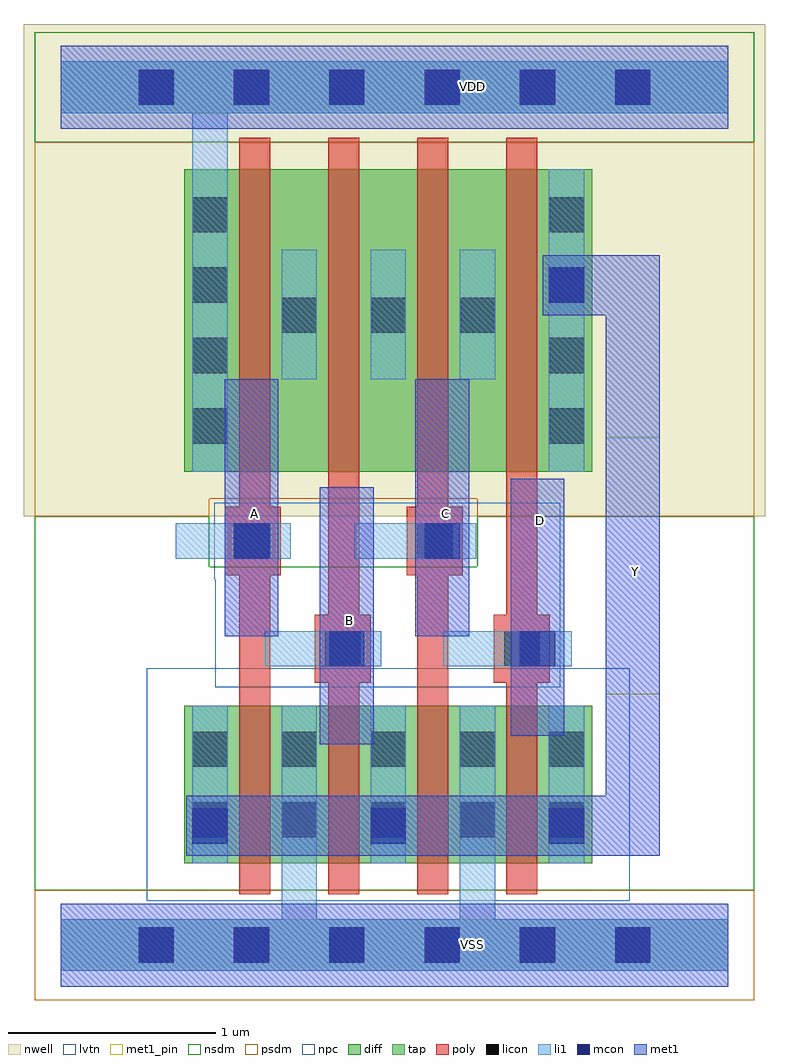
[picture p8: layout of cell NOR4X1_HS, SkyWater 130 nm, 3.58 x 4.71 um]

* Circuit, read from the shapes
.subckt NOR4X1_HS A B C D VDD VSS Y
XM1 VSS A Y VSS sky130_fd_pr__nfet_01v8_lvt w=0.76 l=0.15
XM2 Y B VSS VSS sky130_fd_pr__nfet_01v8_lvt w=0.76 l=0.15
XM3 VSS C Y VSS sky130_fd_pr__nfet_01v8_lvt w=0.76 l=0.15
XM4 Y D VSS VSS sky130_fd_pr__nfet_01v8_lvt w=0.76 l=0.15
XM5 n1 A VDD VDD sky130_fd_pr__pfet_01v8 w=1.46 l=0.15
XM6 n2 B n1 VDD sky130_fd_pr__pfet_01v8 w=1.46 l=0.15
XM7 n3 C n2 VDD sky130_fd_pr__pfet_01v8 w=1.46 l=0.15
XM8 Y D n3 VDD sky130_fd_pr__pfet_01v8 w=1.46 l=0.15
.ends

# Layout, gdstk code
from math import pi, radians
import gdstk
lib = gdstk.Library(unit=1e-6, precision=1e-09)
def R(c, l, rs):  # rectangles x0, y0, x1, y1
    for r in rs: c.add(gdstk.rectangle(r[:2], r[2:], *l))
def A(c, l, x, y, w, h, nx, ny, dx, dy):  # array of equal rectangles
    R(c, l, [(x+i*dx, y+j*dy, x+i*dx+w, y+j*dy+h) for i in range(nx) for j in range(ny)])
def P(c, l, *ps):  # polygons
    for p in ps: c.add(gdstk.Polygon(p, *l))
nwell = (64, 20)
diff = (65, 20)
tap = (65, 44)
poly = (66, 20)
licon = (66, 44)
li1 = (67, 20)
mcon = (67, 44)
met1_pin = (68, 16)
met1 = (68, 20)
nsdm = (93, 44)
psdm = (94, 20)
npc = (95, 20)
lvtn = (125, 44)

licondiff_c_cdns_7520165 = lib.new_cell('LICONDIFF_C_CDNS_752016586819')
R(licondiff_c_cdns_7520165, diff, [(-0.125,-0.145,0.125,0.145)])
R(licondiff_c_cdns_7520165, licon, [(-0.085,-0.085,0.085,0.085), (-0.085,-0.085,0.085,0.085)])

l1m1_c_cdns_752016586811 = lib.new_cell('L1M1_C_CDNS_752016586811')
R(l1m1_c_cdns_752016586811, li1, [(-0.165,-0.085,0.165,0.085)])
R(l1m1_c_cdns_752016586811, mcon, [(-0.085,-0.085,0.085,0.085)])
R(l1m1_c_cdns_752016586811, met1, [(-0.115,-0.145,0.115,0.145)])

l1m1_c_cdns_752016586812 = lib.new_cell('L1M1_C_CDNS_752016586812')
R(l1m1_c_cdns_752016586812, li1, [(-0.085,-0.165,0.085,0.165)])
R(l1m1_c_cdns_752016586812, mcon, [(-0.085,-0.085,0.085,0.085)])
R(l1m1_c_cdns_752016586812, met1, [(-0.115,-0.145,0.115,0.145)])

pyl1con_c_cdns_752016586 = lib.new_cell('PYL1CON_C_CDNS_752016586813')
R(pyl1con_c_cdns_752016586, poly, [(-0.135,-0.165,0.135,0.165)])
R(pyl1con_c_cdns_752016586, licon, [(-0.085,-0.085,0.085,0.085)])
R(pyl1con_c_cdns_752016586, npc, [(-0.185,-0.185,0.185,0.185)])

nor4x1_hs = lib.new_cell('NOR4X1_HS')
R(nor4x1_hs, nwell, [(-0.18,2.07,3.4,4.445)])
R(nor4x1_hs, diff, [(0.595,0.395,2.565,1.155), (0.595,2.285,2.565,3.745)])
A(nor4x1_hs, poly, 0.86, 0.245, 0.15, 3.65, 4, 1, 0.43, 0)
A(nor4x1_hs, licon, 0.375, -0.085, 0.17, 0.17, 6, 2, 0.46, 4.14)
A(nor4x1_hs, licon, 0.635, 0.52, 0.17, 0.17, 5, 2, 0.43, 0.34)
A(nor4x1_hs, licon, 0.635, 2.42, 0.17, 0.17, 1, 4, 0, 0.34)
A(nor4x1_hs, licon, 2.355, 2.42, 0.17, 0.17, 1, 4, 0, 0.34)
A(nor4x1_hs, li1, 0.635, 0.395, 0.17, 0.76, 3, 1, 0.86, 0)
R(nor4x1_hs, li1, [(2.355,2.285,2.525,3.745)])
P(nor4x1_hs, li1, [(3.22,4.265),(0,4.265),(0,4.015),(0.635,4.015),(0.635,2.285),(0.805,2.285),(0.805,4.015),(3.22,4.015)],
  [(3.22,0.125),(2.095,0.125),(2.095,1.155),(1.925,1.155),(1.925,0.125),(1.235,0.125),(1.235,1.155),(1.065,1.155),(1.065,0.125),(0,0.125),(0,-0.125),(3.22,-0.125)])
A(nor4x1_hs, mcon, 0.375, -0.085, 0.17, 0.17, 6, 2, 0.46, 4.14)
R(nor4x1_hs, met1_pin, [(1.25,0.97,1.51,2.21), (2.17,1.01,2.43,2.25), (2.63,1.21,2.89,2.45), (0.79,1.49,1.05,2.73), (1.71,1.49,1.97,2.73)])
P(nor4x1_hs, met1, [(2.89,3.33),(2.325,3.33),(2.325,3.04),(2.63,3.04),(2.63,0.72),(0.72,0.72),(0.72,0.43),(2.89,0.43)])
R(nor4x1_hs, nsdm, [(-0.125,3.875,3.345,4.405)])
P(nor4x1_hs, nsdm, [(3.345,2.07),(2.01,2.07),(2.01,1.825),(0.715,1.825),(0.715,2.07),(-0.125,2.07),(-0.125,0.265),(3.345,0.265)])
R(nor4x1_hs, psdm, [(-0.125,-0.265,3.345,0.265)])
P(nor4x1_hs, psdm, [(3.345,3.875),(-0.125,3.875),(-0.125,2.07),(0.715,2.07),(0.715,2.155),(2.01,2.155),(2.01,2.07),(3.345,2.07)])
R(nor4x1_hs, npc, [(0.745,1.245,2.41,2.135)])
R(nor4x1_hs, lvtn, [(0.415,0.215,2.745,1.335)])
nor4x1_hs.add(gdstk.FlexPath([(1.845,1.43),(2.405,1.43)], 0.17, ends="flush", simple_path=True, layer=67, datatype=20))  # li1
nor4x1_hs.add(gdstk.FlexPath([(2.01,2.73),(2.01,3.355)], 0.17, ends="flush", simple_path=True, layer=67, datatype=20))  # li1
nor4x1_hs.add(gdstk.FlexPath([(0.555,1.95),(1.11,1.95)], 0.17, ends="flush", simple_path=True, layer=67, datatype=20))  # li1
nor4x1_hs.add(gdstk.FlexPath([(1.415,1.95),(1.97,1.95)], 0.17, ends="flush", simple_path=True, layer=67, datatype=20))  # li1
nor4x1_hs.add(gdstk.FlexPath([(0.985,1.43),(1.54,1.43)], 0.17, ends="flush", simple_path=True, layer=67, datatype=20))  # li1
nor4x1_hs.add(gdstk.FlexPath([(1.58,2.73),(1.58,3.355)], 0.17, ends="flush", simple_path=True, layer=67, datatype=20))  # li1
nor4x1_hs.add(gdstk.FlexPath([(1.15,2.73),(1.15,3.355)], 0.17, ends="flush", simple_path=True, layer=67, datatype=20))  # li1
nor4x1_hs.add(gdstk.FlexPath([(0,4.14),(3.22,4.14)], 0.25, ends="flush", simple_path=True, layer=65, datatype=44))  # tap
nor4x1_hs.add(gdstk.FlexPath([(0,0),(3.22,0)], 0.25, ends="flush", simple_path=True, layer=65, datatype=44))  # tap
nor4x1_hs.add(gdstk.FlexPath([(0,4.14),(3.22,4.14)], 0.4, ends="flush", simple_path=True, layer=68, datatype=20))  # met1
nor4x1_hs.add(gdstk.FlexPath([(0,0),(3.22,0)], 0.4, ends="flush", simple_path=True, layer=68, datatype=20))  # met1
nor4x1_hs.add(gdstk.FlexPath([(1.84,1.49),(1.84,2.73)], 0.26, ends="flush", simple_path=True, layer=68, datatype=20))  # met1
nor4x1_hs.add(gdstk.FlexPath([(2.3,1.01),(2.3,2.25)], 0.26, ends="flush", simple_path=True, layer=68, datatype=20))  # met1
nor4x1_hs.add(gdstk.FlexPath([(0.92,1.49),(0.92,2.73)], 0.26, ends="flush", simple_path=True, layer=68, datatype=20))  # met1
nor4x1_hs.add(gdstk.FlexPath([(1.38,0.97),(1.38,2.21)], 0.26, ends="flush", simple_path=True, layer=68, datatype=20))  # met1
nor4x1_hs.add(gdstk.FlexPath([(0,0),(3.22,0)], 0.4, ends="flush", simple_path=True, layer=68, datatype=16))  # met1_pin
nor4x1_hs.add(gdstk.FlexPath([(0,4.14),(3.22,4.14)], 0.4, ends="flush", simple_path=True, layer=68, datatype=16))  # met1_pin
nor4x1_hs.add(gdstk.Reference(licondiff_c_cdns_7520165, (2.01,3.04)))
nor4x1_hs.add(gdstk.Reference(licondiff_c_cdns_7520165, (1.15,3.04)))
nor4x1_hs.add(gdstk.Reference(licondiff_c_cdns_7520165, (1.58,3.04)))
nor4x1_hs.add(gdstk.Reference(l1m1_c_cdns_752016586811, (2.3,1.43), x_reflection=True))
nor4x1_hs.add(gdstk.Reference(l1m1_c_cdns_752016586811, (1.38,1.43), x_reflection=True))
nor4x1_hs.add(gdstk.Reference(l1m1_c_cdns_752016586811, (1.84,1.95), x_reflection=True))
nor4x1_hs.add(gdstk.Reference(l1m1_c_cdns_752016586811, (0.92,1.95), x_reflection=True))
nor4x1_hs.add(gdstk.Reference(l1m1_c_cdns_752016586812, (0.72,0.575)))
nor4x1_hs.add(gdstk.Reference(l1m1_c_cdns_752016586812, (2.44,3.185)))
nor4x1_hs.add(gdstk.Reference(l1m1_c_cdns_752016586812, (2.44,0.575)))
nor4x1_hs.add(gdstk.Reference(l1m1_c_cdns_752016586812, (1.58,0.575)))
nor4x1_hs.add(gdstk.Reference(pyl1con_c_cdns_752016586, (2.225,1.43)))
nor4x1_hs.add(gdstk.Reference(pyl1con_c_cdns_752016586, (1.805,1.95)))
nor4x1_hs.add(gdstk.Reference(pyl1con_c_cdns_752016586, (1.36,1.43)))
nor4x1_hs.add(gdstk.Reference(pyl1con_c_cdns_752016586, (0.925,1.95), rotation=pi, x_reflection=True))
nor4x1_hs.add(gdstk.Label('VSS', (1.985,0.005), layer=68, texttype=5))
nor4x1_hs.add(gdstk.Label('VDD', (1.985,4.145), layer=68, texttype=5))
nor4x1_hs.add(gdstk.Label('VDD', (1.985,4.145), layer=68, texttype=5))
nor4x1_hs.add(gdstk.Label('Y', (2.775,1.805), layer=68, texttype=5))
nor4x1_hs.add(gdstk.Label('C', (1.855,2.085), layer=68, texttype=5))
nor4x1_hs.add(gdstk.Label('B', (1.395,1.565), layer=68, texttype=5))
nor4x1_hs.add(gdstk.Label('D', (2.315,2.05), layer=68, texttype=5))
nor4x1_hs.add(gdstk.Label('A', (0.935,2.085), layer=68, texttype=5))

lib.write_gds('NOR4X1_HS.gds')
